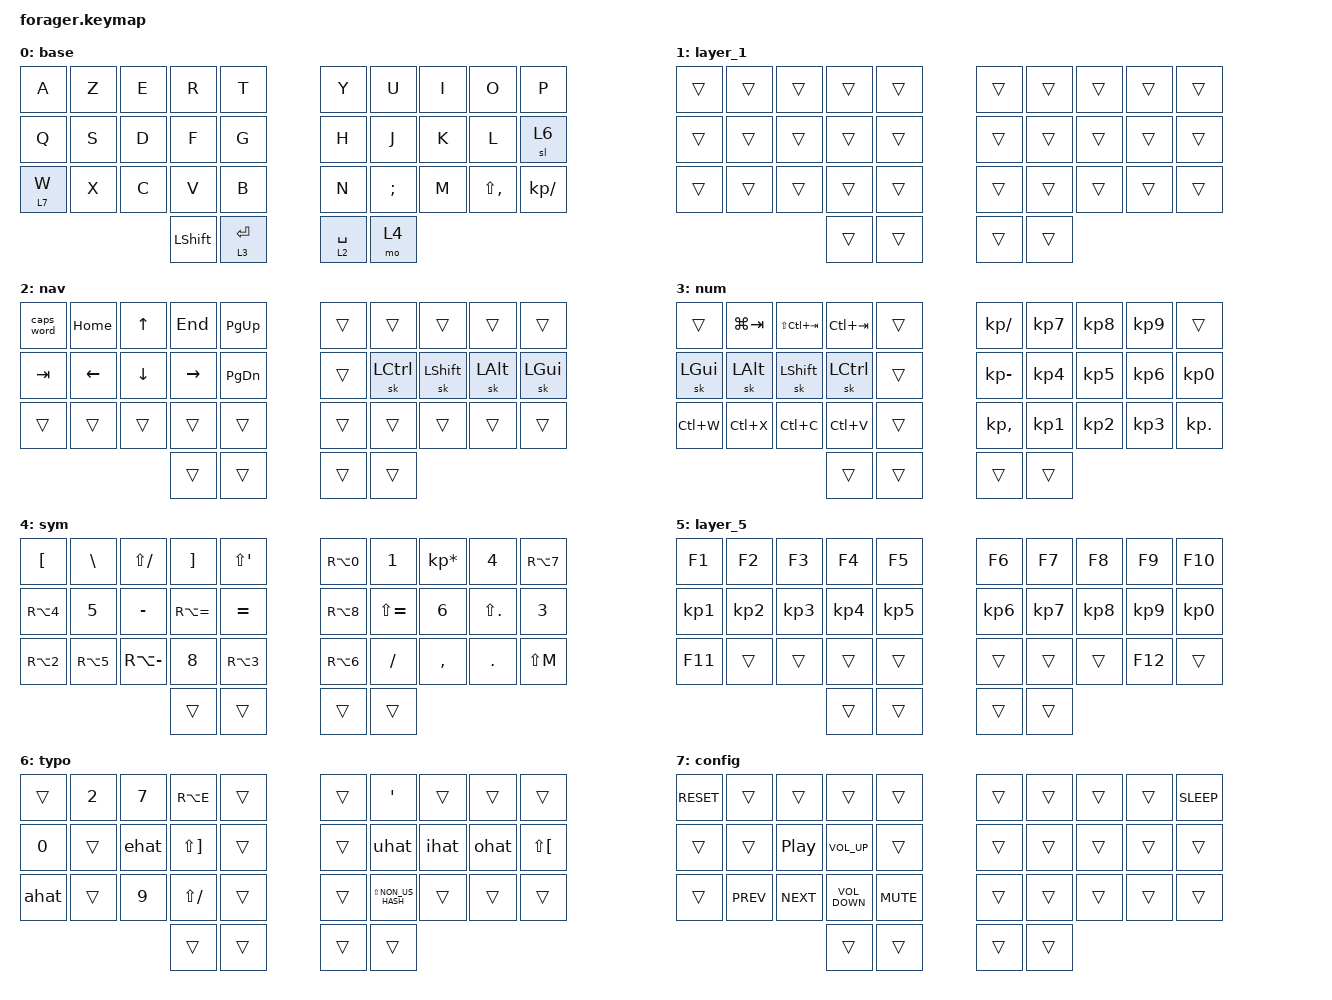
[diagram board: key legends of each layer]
#include <behaviors.dtsi>
#include <dt-bindings/zmk/keys.h>

#define BASE 0
#define NAV  1
#define SYM  2
#define ADJ  3

#define AS(keycode) &as LS(keycode) keycode     // Autoshift Macro

#define MEH LS(LC(LALT))

/ {
    behaviors {
        // as: auto_shift {
        //     compatible = "zmk,behavior-hold-tap";
        //     #binding-cells = <2>;
        //     tapping-term-ms = <250>;
        //     require-prior-idle-ms = <100>;
        //     flavor = "tap-preferred";
        //     bindings = <&kp>, <&kp>;
        // };
        // ht: hold_tap {
        //     compatible = "zmk,behavior-hold-tap";
        //     #binding-cells = <2>;
        //     tapping-term-ms = <200>;
        //     flavor = "balanced";
        //     bindings = <&kp>, <&kp>;
        // };
        // sabk: shift_to_alt_backspace {
        //     compatible = "zmk,behavior-mod-morph";
        //     #binding-cells = <0>;
        //     bindings = <&kp BSPC>, <&kp LA(BSPC)>;
        //     mods = <(MOD_LSFT|MOD_RSFT)>;
        // };
        // smart_shift: smart_shift {
        //     compatible = "zmk,behavior-mod-morph";
        //     #binding-cells = <0>;
        //     bindings = <&sk LSHFT>, <&caps_word>;
        //     mods = <(MOD_LSFT|MOD_RSFT)>;
        // };
        // sym_bspc: left_thumb_hold_tap {
        //     compatible = "zmk,behavior-hold-tap";
        //     #binding-cells = <2>;
        //     flavor = "tap-preferred";
        //     tapping-term-ms = <150>;
        //     quick-tap-ms = <200>;
        //     bindings = <&mo>, <&sabk>;
        // };
        // lhm: left_homerow_mods {
        //     compatible = "zmk,behavior-hold-tap";
        //     #binding-cells = <2>;
        //     flavor = "balanced";
        //     tapping-term-ms = <280>;
        //     quick-tap-ms = <175>;
        //     require-prior-idle-ms = <150>;
        //     bindings = <&kp>, <&kp>;
        //     hold-trigger-key-positions = <5 6 7 8 9 15 16 17 18 19 25 26 27 28 29 30 31 32 33>;
        // };
        // rhm: right_homerow_mods {
        //     compatible = "zmk,behavior-hold-tap";
        //     #binding-cells = <2>;
        //     flavor = "balanced";
        //     tapping-term-ms = <280>;
        //     quick-tap-ms = <175>;
        //     require-prior-idle-ms = <150>;
        //     bindings = <&kp>, <&kp>;
        //     hold-trigger-key-positions = <0 1 2 3 4 10 11 12 13 14 20 21 22 23 24 30 31 32 33>;
        // };
    };

    conditional_layers {
        compatible = "zmk,conditional-layers";

        tri_layer {
            if-layers = <2 3>;
            then-layer = <5>;
        };
    };

    combos {
        compatible = "zmk,combos";

        delete {
            bindings = <&kp DEL>;
            key-positions = <17 18>;
        };

        backspace {
            bindings = <&kp BACKSPACE>;
            key-positions = <11 12>;
        };

        enter {
            bindings = <&kp ENTER>;
            key-positions = <12 13>;
        };

        space {
            bindings = <&kp SPACE>;
            key-positions = <16 17>;
        };

        esc {
            bindings = <&kp ESCAPE>;
            key-positions = <0 1>;
        };
    };

    macros {
        ahat: ahat {
            compatible = "zmk,behavior-macro";
            #binding-cells = <0>;
            bindings = <&kp LEFT_BRACKET &kp Q>;
            label = "AHAT";
        };

        ehat: ehat {
            compatible = "zmk,behavior-macro";
            #binding-cells = <0>;
            bindings = <&kp LEFT_BRACKET &kp E>;
            label = "EHAT";
        };

        uhat: uhat {
            compatible = "zmk,behavior-macro";
            #binding-cells = <0>;
            bindings = <&kp LEFT_BRACKET &kp U>;
            label = "UHAT";
        };

        ihat: ihat {
            compatible = "zmk,behavior-macro";
            #binding-cells = <0>;
            bindings = <&kp LEFT_BRACKET &kp I>;
            label = "IHAT";
        };

        ohat: ohat {
            compatible = "zmk,behavior-macro";
            #binding-cells = <0>;
            bindings = <&kp LEFT_BRACKET &kp O>;
            label = "OHAT";
        };
    };

    keymap {
        compatible = "zmk,keymap";

        base {
            bindings = <
  &kp A    &kp Z  &kp E  &kp R       &kp T          &kp Y        &kp U          &kp I  &kp O          &kp P
  &kp Q    &kp S  &kp D  &kp F       &kp G          &kp H        &kp J          &kp K  &kp L          &sl 6
  &lt 7 W  &kp X  &kp C  &kp V       &kp B          &kp N        &kp SEMICOLON  &kp M  &kp LS(COMMA)  &kp KP_DIVIDE
                         &kp LSHIFT  &lt 3 ENTER    &lt 2 SPACE  &mo 4
            >;
        };

        layer_1 {
            bindings = <
  &trans  &trans  &trans  &trans  &trans    &trans  &trans  &trans  &trans  &trans
  &trans  &trans  &trans  &trans  &trans    &trans  &trans  &trans  &trans  &trans
  &trans  &trans  &trans  &trans  &trans    &trans  &trans  &trans  &trans  &trans
                          &trans  &trans    &trans  &trans
            >;
        };

        nav {
            bindings = <
  &caps_word  &kp HOME  &kp UP_ARROW    &kp END    &kp PAGE_UP      &trans  &trans     &trans     &trans    &trans
  &kp TAB     &kp LEFT  &kp DOWN_ARROW  &kp RIGHT  &kp PAGE_DOWN    &trans  &sk LCTRL  &sk LSHFT  &sk LALT  &sk LGUI
  &trans      &trans    &trans          &trans     &trans           &trans  &trans     &trans     &trans    &trans
                                        &trans     &trans           &trans  &trans
            >;
        };

        num {
            bindings = <
  &trans     &kp LG(TAB)  &kp LS(LC(TAB))  &kp LC(TAB)  &trans    &kp KP_DIVIDE    &kp KP_NUMBER_7  &kp KP_NUMBER_8  &kp KP_NUMBER_9  &trans
  &sk LGUI   &sk LALT     &sk LSHFT        &sk LCTRL    &trans    &kp KP_SUBTRACT  &kp KP_NUMBER_4  &kp KP_NUMBER_5  &kp KP_NUMBER_6  &kp KP_NUMBER_0
  &kp LC(W)  &kp LC(X)    &kp LC(C)        &kp LC(V)    &trans    &kp KP_COMMA     &kp KP_NUMBER_1  &kp KP_NUMBER_2  &kp KP_NUMBER_3  &kp KP_DOT
                                           &trans       &trans    &trans           &trans
            >;
        };

        sym {
            bindings = <
  &kp LBKT          &kp BSLH    &kp LS(SLASH)  &kp RBKT       &kp LS(SQT)         &kp RA(N0)        &kp N1         &kp KP_MULTIPLY  &kp N4          &kp RA(N7)
  &kp RA(N4)        &kp N5      &kp MINUS      &kp RA(EQUAL)  &kp EQUAL           &kp RA(N8)        &kp LS(EQUAL)  &kp N6           &kp LS(PERIOD)  &kp N3
  &kp RA(NUMBER_2)  &kp RA(N5)  &kp RA(MINUS)  &kp N8         &kp RA(NUMBER_3)    &kp RA(NUMBER_6)  &kp FSLH       &kp COMMA        &kp DOT         &kp LS(M)
                                               &trans         &trans              &trans            &trans
            >;
        };

        layer_5 {
            bindings = <
  &kp F1           &kp F2           &kp F3           &kp F4           &kp F5             &kp F6           &kp F7           &kp F8           &kp F9           &kp F10
  &kp KP_NUMBER_1  &kp KP_NUMBER_2  &kp KP_NUMBER_3  &kp KP_NUMBER_4  &kp KP_NUMBER_5    &kp KP_NUMBER_6  &kp KP_NUMBER_7  &kp KP_NUMBER_8  &kp KP_NUMBER_9  &kp KP_NUMBER_0
  &kp F11          &trans           &trans           &trans           &trans             &trans           &trans           &trans           &kp F12          &trans
                                                     &trans           &trans             &trans           &trans
            >;
        };

        typo {
            bindings = <
  &trans  &kp NUMBER_2  &kp N7  &kp RA(E)              &trans    &trans  &kp SQT              &trans  &trans  &trans
  &kp N0  &trans        &ehat   &kp LS(RIGHT_BRACKET)  &trans    &trans  &uhat                &ihat   &ohat   &kp LS(LBKT)
  &ahat   &trans        &kp N9  &kp LS(SLASH)          &trans    &trans  &kp LS(NON_US_HASH)  &trans  &trans  &trans
                                &trans                 &trans    &trans  &trans
            >;
        };

        config {
            bindings = <
  &kp C_RESET  &trans      &trans            &trans             &trans        &trans  &trans  &trans  &trans  &kp C_SLEEP
  &trans       &trans      &kp C_PLAY_PAUSE  &kp C_VOLUME_UP    &trans        &trans  &trans  &trans  &trans  &trans
  &trans       &kp C_PREV  &kp C_NEXT        &kp C_VOLUME_DOWN  &kp K_MUTE    &trans  &trans  &trans  &trans  &trans
                                             &trans             &trans        &trans  &trans
            >;
        };

        // nav {
        //     bindings = <
        //     &trans          &trans          &trans          &trans          &trans                                          &kp PAGE_UP     &kp LC(PG_UP)   &kp UP          &kp LC(PG_DN)   &kp DELETE
        //     &trans          &kp LCTRL       &kp LALT        &kp LGUI        &trans                                          &kp PAGE_DOWN   &kp LEFT        &kp DOWN        &kp RIGHT       &kp BSLH
        //     &trans          &trans          &trans          &trans          &trans                                          &trans          &kp HOME        &kp END         &kp LC(SPACE)   &kp LC(SPACE)
        //                                                                     &mo SYM         &kp LSHFT       &trans          &trans
        //     >;
        // };
        // sym {
        //     // bindings = <
        //     // AS(N1)          AS(N2)          AS(N3)          AS(N4)          AS(N5)                                          AS(N6)          AS(N7)          AS(N8)          AS(N9)          AS(N0)
        //     // AS(GRAVE)       &sk LCTRL       &sk LALT        &sk LGUI        &sk LC(LALT)                                    AS(BSLH)        AS(MINUS)       AS(EQUAL)       AS(LBKT)        AS(RBKT)
        //     // &trans          &trans          &trans          &trans          &trans                                          &trans          &trans          &trans          &trans          &kp ENTER
        //     //                                                                 &trans          &trans          &kp LSHFT       &mo NAV
        //     // >;
        // };
        // adj {
        //     bindings = <
        //     &bt BT_SEL 0    &bt BT_SEL 1    &bt BT_SEL 2    &bt BT_SEL 3    &bt BT_CLR_ALL                                  &kp C_SLEEP     &trans          &trans          &kp C_BRI_DN    &kp C_BRI_UP
        //     &studio_unlock  &trans          &trans          &trans          &trans                                          &trans          &trans          &trans          &kp C_VOL_DN    &kp C_VOL_UP
        //     &bootloader     &trans          &trans          &trans          &trans                                          &trans          &trans          &trans          &trans          &bootloader
        //                                                                     &trans          &trans          &trans          &trans
        //     >;
        // };
    };
};

&lt {
    // require-prior-idle-ms = <100>;

    tapping-term-ms = <150>;
    quick-tap-ms = <200>;
};

&mt { quick-tap-ms = <200>; };

&sk {
    release-after-ms = <500>;
    quick-release;
};
